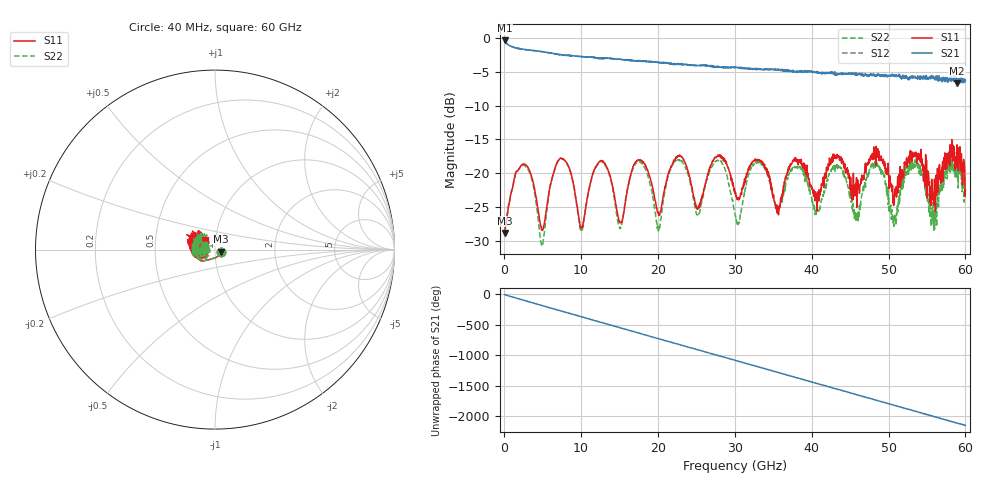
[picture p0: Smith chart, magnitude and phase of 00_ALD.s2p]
! File created by 'SoftPlot +Plus+ Measurement Management Software'
! SoftPlot +Plus+ Measurement Management Software
! Start 40.000000 MHz  Stop 60.000000 GHz  Points 1601
# MHZ S RI R 50
! S-Parameter data, F S11 S21 S12 S22
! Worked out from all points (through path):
!   1601 points, 40 MHz to 60 GHz, reference 50 ohm
!   highest |S21| = -0.38 dB at 40 MHz (marker M1); lowest = -6.7 dB at 58.91 GHz (marker M2)
!   group delay of S21, straight-line fit = 99.1 ps
!   lowest |S11| = -28.8 dB at 40 MHz (marker M3), VSWR 1.08, Z = 53.5 - j1.27 ohm
!   |S11| at or under -10 dB: start of sweep to end of sweep
!   |S22| runs from -30.8 to -17.6 dB; largest |S21 - S12| = 0.051
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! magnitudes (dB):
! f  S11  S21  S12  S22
! 40 MHz  -28.8  -0.4  -0.4  -28.8
! 2.588 GHz  -18.7  -1.7  -1.7  -18.8
! 4.949 GHz  -28.3  -2.0  -2.0  -30.7
! 7.46 GHz  -17.8  -2.5  -2.5  -17.9
! 10.05 GHz  -28.1  -2.8  -2.8  -28.7
! 12.59 GHz  -18.1  -3.0  -3.0  -18.2
! 15.07 GHz  -27.3  -3.2  -3.1  -28.2
! 17.88 GHz  -18.2  -3.4  -3.4  -18.5
! 20.05 GHz  -26.0  -3.7  -3.6  -28.5
! 22.52 GHz  -17.6  -3.9  -3.8  -18.1
! 25.19 GHz  -25.3  -4.1  -4.1  -26.1
! 28.18 GHz  -17.3  -4.3  -4.3  -18.2
! 30.02 GHz  -22.7  -4.3  -4.3  -26.0
! 32.91 GHz  -18.0  -4.7  -4.7  -18.4
! 35.57 GHz  -25.5  -4.7  -4.7  -25.5
! 37.74 GHz  -18.0  -5.0  -5.0  -19.2
! 40.03 GHz  -22.1  -4.9  -5.0  -23.7
! 45.87 GHz  -25.0  -5.4  -5.3  -26.1
! 48.35 GHz  -18.8  -5.6  -5.6  -18.9
! 50.03 GHz  -20.5  -5.7  -5.5  -23.7
! 58.91 GHz  -15.8  -6.7  -6.0  -19.4
! 60 GHz  -22.4  -6.2  -6.0  -23.1
